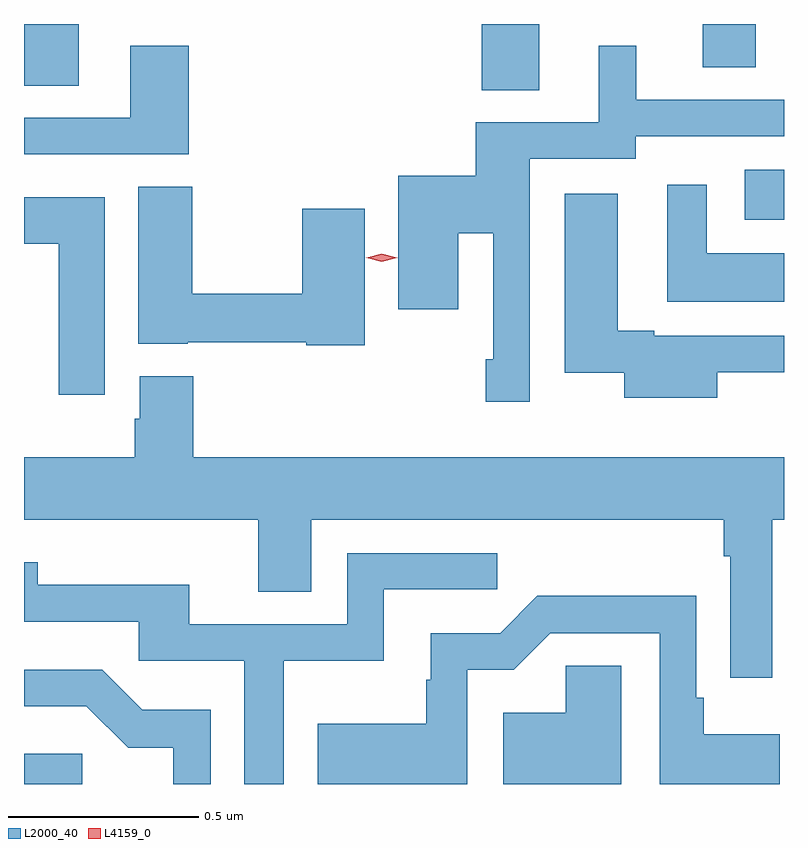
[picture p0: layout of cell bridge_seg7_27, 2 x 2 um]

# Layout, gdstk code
import gdstk
lib = gdstk.Library(unit=1e-6, precision=1e-09)
def R(c, l, rs):  # rectangles x0, y0, x1, y1
    for r in rs: c.add(gdstk.rectangle(r[:2], r[2:], *l))
def P(c, l, *ps):  # polygons
    for p in ps: c.add(gdstk.Polygon(p, *l))
L2000_40 = (2000, 40)
L4159_0 = (4159, 0)

bridge_seg7_27 = lib.new_cell('bridge_seg7_27')
R(bridge_seg7_27, L2000_40, [(1041.283,1051.868,1041.436,1051.948), (1043.18,1053.353,1043.283,1053.484), (1042.487,1053.694,1042.639,1053.868), (1041.283,1053.706,1041.427,1053.868), (1043.069,1053.754,1043.209,1053.868)])
P(bridge_seg7_27, L2000_40, [(1041.716,1053.811),(1041.563,1053.811),(1041.563,1053.621),(1041.283,1053.621),(1041.283,1053.525),(1041.716,1053.525)],
  [(1042.614,1053.513),(1042.893,1053.513),(1042.893,1053.573),(1043.283,1053.573),(1043.283,1053.669),(1042.894,1053.669),(1042.894,1053.811),(1042.796,1053.811),(1042.796,1053.609),(1042.472,1053.609),(1042.472,1053.469),(1042.268,1053.469),(1042.268,1053.117),(1042.426,1053.117),(1042.426,1053.317),(1042.518,1053.317),(1042.518,1052.986),(1042.498,1052.986),(1042.498,1052.874),(1042.614,1052.874)],
  [(1043.283,1053.265),(1043.08,1053.265),(1043.08,1053.445),(1042.976,1053.445),(1042.976,1053.137),(1043.283,1053.137)],
  [(1042.18,1053.382),(1042.015,1053.382),(1042.015,1053.158),(1041.726,1053.158),(1041.726,1053.44),(1041.584,1053.44),(1041.584,1053.026),(1041.714,1053.026),(1041.714,1053.03),(1042.026,1053.03),(1042.026,1053.022),(1042.18,1053.022)],
  [(1043.107,1052.952),(1043.283,1052.952),(1043.283,1053.048),(1042.942,1053.048),(1042.942,1053.061),(1042.846,1053.061),(1042.846,1053.421),(1042.706,1053.421),(1042.706,1052.95),(1042.862,1052.95),(1042.862,1052.885),(1043.107,1052.885)],
  [(1041.496,1053.412),(1041.283,1053.412),(1041.283,1053.29),(1041.374,1053.29),(1041.374,1052.892),(1041.496,1052.892)],
  [(1043.252,1052.564),(1043.283,1052.564),(1043.283,1052.728),(1041.728,1052.728),(1041.728,1052.941),(1041.587,1052.941),(1041.587,1052.829),(1041.575,1052.829),(1041.575,1052.728),(1041.283,1052.728),(1041.283,1052.564),(1041.899,1052.564),(1041.899,1052.374),(1042.039,1052.374),(1042.039,1052.564),(1043.124,1052.564),(1043.124,1052.468),(1043.141,1052.468),(1043.141,1052.148),(1043.252,1052.148)],
  [(1041.966,1052.192),(1042.23,1052.192),(1042.23,1052.38),(1042.528,1052.38),(1042.528,1052.475),(1042.134,1052.475),(1042.134,1052.289),(1041.718,1052.289),(1041.718,1052.392),(1041.319,1052.392),(1041.319,1052.452),(1041.283,1052.452),(1041.283,1052.295),(1041.585,1052.295),(1041.585,1052.193),(1041.863,1052.193),(1041.863,1051.868),(1041.966,1051.868)],
  [(1042.449,1052.169),(1042.572,1052.169),(1042.668,1052.265),(1042.956,1052.265),(1042.956,1051.868),(1043.272,1051.868),(1043.272,1051.999),(1043.072,1051.999),(1043.072,1052.095),(1043.052,1052.095),(1043.052,1052.363),(1042.634,1052.363),(1042.536,1052.265),(1042.353,1052.265),(1042.353,1052.142),(1042.341,1052.142),(1042.341,1052.026),(1042.056,1052.026),(1042.056,1051.868),(1042.449,1051.868)],
  [(1042.855,1052.179),(1042.708,1052.179),(1042.708,1052.056),(1042.544,1052.056),(1042.544,1051.868),(1042.855,1051.868)],
  [(1041.774,1052.064),(1041.594,1052.064),(1041.489,1052.169),(1041.283,1052.169),(1041.283,1052.073),(1041.447,1052.073),(1041.557,1051.963),(1041.676,1051.963),(1041.676,1051.868),(1041.774,1051.868)])
P(bridge_seg7_27, L4159_0, [(1042.224,1053.243),(1042.184,1053.253),(1042.184,1053.253),(1042.184,1053.253),(1042.224,1053.263),(1042.265,1053.253),(1042.265,1053.253),(1042.265,1053.253)])

lib.write_gds('bridge_seg7_27.gds')
